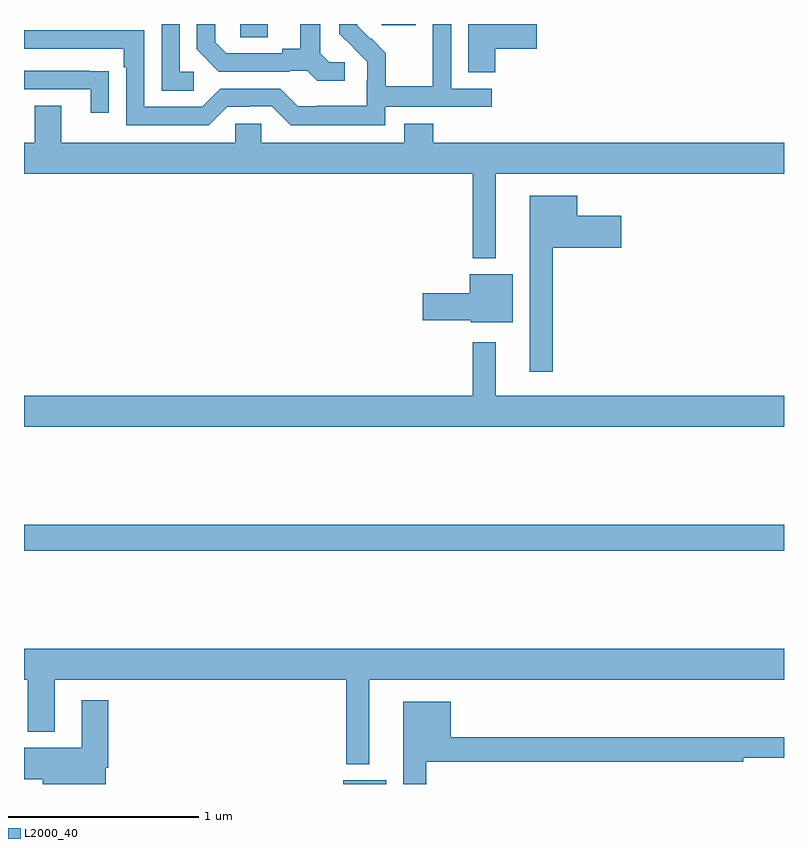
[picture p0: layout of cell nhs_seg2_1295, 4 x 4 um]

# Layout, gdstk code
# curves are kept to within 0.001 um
import gdstk
lib = gdstk.Library(unit=1e-6, precision=1e-09)
def R(c, l, rs):  # rectangles x0, y0, x1, y1
    for r in rs: c.add(gdstk.rectangle(r[:2], r[2:], *l))
def P(c, l, *ps):  # polygons
    for p in ps: c.add(gdstk.Polygon(p, *l))
L2000_40 = (2000, 40)

nhs_seg2_1295 = lib.new_cell('nhs_seg2_1295')
R(nhs_seg2_1295, L2000_40, [(180.68,601.8,180.907,601.819), (179,603.028,183,603.164), (180.138,605.731,180.283,605.8), (180.884,605.793,181.063,605.8)])
P(nhs_seg2_1295, L2000_40, [(180.9,605.364),(181.462,605.364),(181.462,605.46),(181.248,605.46),(181.248,605.8),(181.152,605.8),(181.152,605.696),(181.15,605.696),(181.15,605.473),(180.905,605.473),(180.905,605.647),(180.828,605.724),(180.825,605.721),(180.755,605.792),(180.755,605.8),(180.66,605.8),(180.66,605.75),(180.806,605.602),(180.806,605.505),(180.804,605.505),(180.804,605.371),(180.541,605.371),(180.541,605.367),(180.441,605.367),(180.348,605.46),(180.033,605.46),(179.937,605.364),(179.634,605.364),(179.634,605.766),(179,605.766),(179,605.67),(179.525,605.67),(179.525,605.573),(179.538,605.573),(179.538,605.268),(179.973,605.268),(180.069,605.364),(180.188,605.364),(180.188,605.367),(180.303,605.367),(180.403,605.267),(180.9,605.267)],
  [(180.688,605.598),(180.606,605.598),(180.559,605.645),(180.559,605.8),(180.455,605.8),(180.455,605.669),(180.359,605.669),(180.359,605.646),(180.064,605.646),(180.007,605.703),(180.007,605.8),(179.91,605.8),(179.91,605.666),(180.026,605.55),(180.398,605.55),(180.398,605.553),(180.492,605.553),(180.544,605.501),(180.688,605.501)],
  [(181.481,605.669),(181.699,605.669),(181.699,605.8),(181.337,605.8),(181.337,605.545),(181.481,605.545)],
  [(179.893,605.55),(179.82,605.55),(179.82,605.8),(179.724,605.8),(179.724,605.449),(179.893,605.449)],
  [(179.447,605.552),(179.345,605.552),(179.345,605.553),(179,605.553),(179,605.457),(179.351,605.457),(179.351,605.334),(179.447,605.334)],
  [(181.483,605.012),(183,605.012),(183,605.176),(181.154,605.176),(181.154,605.275),(181.001,605.275),(181.001,605.176),(180.249,605.176),(180.249,605.274),(180.111,605.274),(180.111,605.176),(179.197,605.176),(179.197,605.371),(179.057,605.371),(179.057,605.176),(179,605.176),(179,605.012),(181.362,605.012),(181.362,604.568),(181.483,604.568)],
  [(181.783,604.622),(182.143,604.622),(182.143,604.792),(181.912,604.792),(181.912,604.897),(181.661,604.897),(181.661,603.969),(181.783,603.969)],
  [(181.573,604.483),(181.346,604.483),(181.346,604.382),(181.098,604.382),(181.098,604.24),(181.35,604.24),(181.35,604.229),(181.573,604.229)],
  [(183,603.844),(181.483,603.844),(181.483,604.126),(181.362,604.126),(181.362,603.844),(179,603.844),(179,603.68),(183,603.68)],
  [(180.817,602.348),(183,602.348),(183,602.512),(179,602.512),(179,602.348),(179.021,602.348),(179.021,602.075),(179.161,602.075),(179.161,602.348),(180.696,602.348),(180.696,601.904),(180.817,601.904)],
  [(179.431,601.886),(179.444,601.886),(179.444,602.242),(179.303,602.242),(179.303,601.99),(179,601.99),(179,601.826),(179.099,601.826),(179.099,601.8),(179.431,601.8)],
  [(181.117,601.918),(182.786,601.918),(182.786,601.938),(183,601.938),(183,602.047),(181.246,602.047),(181.246,602.233),(180.995,602.233),(180.995,601.8),(181.117,601.8)])

lib.write_gds('nhs_seg2_1295.gds')
